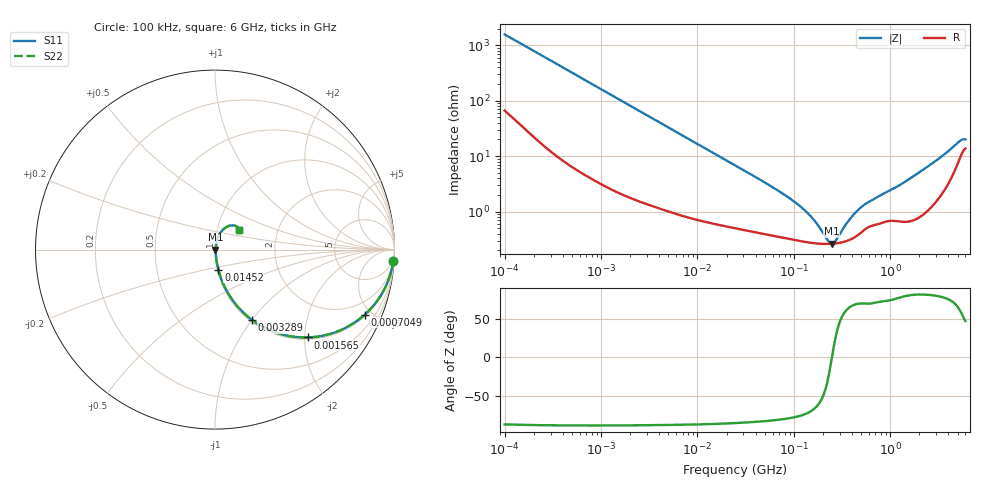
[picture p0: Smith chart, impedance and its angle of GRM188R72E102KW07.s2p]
!Murata Part Number: GRM188R72E102KW07
!These Parameters are Measured in Series Mode Connection
!Data Generated on Mar 30, 2021
!  o--ll--o
!Port1  Port2
!  o------o
!Operation Temp=25[degC], DC Bias Voltage=0[V]
!Freq. Start=100[kHz] Stop=6[GHz] 401[Steps]
# Hz S RI R 50
!Freq.(Hz) S11(Real) S11(Imag) S21(Real) S21(Imag) S12(Real) S12(Imag) S22(Real) S22(Imag)
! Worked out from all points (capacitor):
!   401 points, 100 kHz to 6 GHz, reference 50 ohm
!   read as one part in series: C = 1 nF near 105.7 kHz
!   lowest |Z| = 262 mohm at 246.9 MHz (marker M1)
!   series resonance near 248.3 MHz, so ESL is about 410 pH
!   S11 on the Smith chart (normalised r, x): 100 kHz: 2, -31; 704.9 kHz: 1.09, -4.57; 1.565 MHz: 1.04, -2.07; 3.289 MHz: 1.03, -0.99; 14.52 MHz: 1.01, -0.23; 6 GHz: 1.28, +0.29
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100000  0.9933 -0.0629  0.00666 0.0629  0.00666 0.0629  0.9933 -0.0629
261871  0.9703 -0.1581  0.0297 0.1581  0.0297 0.1581  0.9703 -0.1581
631452  0.8621 -0.3353  0.1379 0.3353  0.1379 0.3353  0.8621 -0.3353
704891  0.8349 -0.3618  0.1651 0.3618  0.1651 0.3618  0.8349 -0.3618
1565085  0.5181 -0.4896  0.4819 0.4896  0.4819 0.4896  0.5181 -0.4896
3288994  0.2044 -0.3906  0.7956 0.3906  0.7956 0.3906  0.2044 -0.3906
3987316  0.1515 -0.3449  0.8485 0.3449  0.8485 0.3449  0.1515 -0.3449
6911753  0.061 -0.2224  0.939 0.2224  0.939 0.2224  0.061 -0.2224
1.452491e7  0.0187 -0.1118  0.9813 0.1118  0.9813 0.1118  0.0187 -0.1118
2.517799e7  0.00926 -0.0656  0.9907 0.0656  0.9907 0.0656  0.00926 -0.0656
8.44535e7  0.00358 -0.0184  0.9964 0.0184  0.9964 0.0184  0.00358 -0.0184
1.174795e8  0.00305 -0.0118  0.997 0.0118  0.997 0.0118  0.00305 -0.0118
1.546735e8  0.00275 -0.00715  0.9972 0.00715  0.9972 0.00715  0.00275 -0.00715
2.273271e8  0.0026 -0.0013  0.9974 0.0013  0.9974 0.0013  0.0026 -0.0013
2.468808e8  0.00261 -8.32e-05  0.9974 8.32e-05  0.9974 8.32e-05  0.00261 -8.32e-05
2.681165e8  0.00265 0.00114  0.9974 -0.00114  0.9974 -0.00114  0.00265 0.00114
3.628463e8  0.00302 0.00581  0.997 -0.00581  0.997 -0.00581  0.00302 0.00581
4.777233e8  0.00402 0.0104  0.996 -0.0104  0.996 -0.0104  0.00402 0.0104
9.76689e8  0.00723 0.0226  0.9928 -0.0226  0.9928 -0.0226  0.00723 0.0226
3.367428e9  0.0279 0.0907  0.9721 -0.0907  0.9721 -0.0907  0.0279 0.0907
5.087202e9  0.0939 0.135  0.9061 -0.135  0.9061 -0.135  0.0939 0.135
6e9  0.1355 0.1113  0.8645 -0.1113  0.8645 -0.1113  0.1355 0.1113
